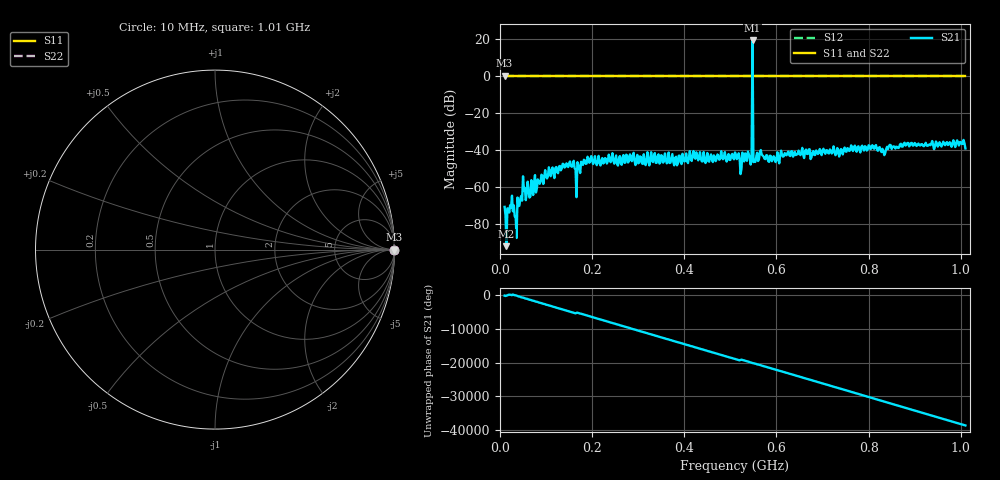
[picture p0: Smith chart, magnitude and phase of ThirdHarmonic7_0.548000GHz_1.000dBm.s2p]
! 8/17/2025 4:34:46 PM
! C:\ANRITSUVNA\TEMP\TEMP.S2P
! CHANNEL.1
! TR.MEASUREMENT
! RAW.DATA
! RF.CORRECTION.OFF
! AVERAGING.OFF
! IF.BANDWIDTH: 5KHZ
! SWEEPTYPE:  FREQ.SWEEP(Linear)
! Reference Plane Port Info
! PORT:  PORT1  PORT2
! DISTANCE:  0  m  0  m
! TIME:  0  s  0  s
! PHASE.OFFSET:  0  deg.  0  deg.
! LOSS:  0  dB  0  dB
! REF.LOSS:  0  dB  0  dB
! REF.FREQ:  0  Hz  0  Hz
! Power Info
! POWER:  -20  dBm  -20  dBm
! EFF.POWER:  -20  dBm  -20  dBm
! SOURCE.ATTEN:  0  dB  0  dB
! TEST.ATTEN:  0  dB  0  dB
# GHZ S RI R 50.0
! FREQ.GHZ  S11RE  S11IM  S21RE  S21IM  S12RE  S12IM  S22RE  S22IM
!; PortSelection: Port_12
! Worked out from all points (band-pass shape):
!   501 points, 10 MHz to 1.01 GHz, reference 50 ohm
!   highest |S21| = 19.05 dB at 548 MHz (marker M1); lowest = -91.8 dB at 14 MHz (marker M2)
!   |S21| within 3 dB of the highest: 547.9055 MHz to 548.0915 MHz (186.1 kHz wide, 0.034 % of centre)
!   lowest |S11| = 0.0 dB at 10 MHz (marker M3)
!   |S11| at or under -10 dB: nowhere
!   |S22| runs from 0.0 to 0.0 dB; largest |S21 - S12| = 8.3
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0.01  1 0  -0.000197 -0.000219  1 0  1 0
0.014  1 0  -9.3e-06 -2.41e-05  1 0  1 0
0.026  1 0  0.000534 0.000255  1 0  1 0
0.032  1 0  0.000148 7.09e-05  1 0  1 0
0.05  1 0  0.00176 -0.000873  1 0  1 0
0.068  1 0  0.00147 -0.000485  1 0  1 0
0.11  1 0  0.000778 0.00182  1 0  1 0
0.156  1 0  0.00354 -0.000319  1 0  1 0
0.17  1 0  -0.00308 0.00256  1 0  1 0
0.178  1 0  -0.00408 -0.00056  1 0  1 0
0.344  1 0  0.00698 -0.00319  1 0  1 0
0.51  1 0  -0.00842 -0.0019  1 0  1 0
0.526  1 0  -0.0016 -0.00839  1 0  1 0
0.53  1 0  -0.00134 0.00476  1 0  1 0
0.542  1 0  0.00474 -0.00428  1 0  1 0
0.544  1 0  -0.00116 -0.00391  1 0  1 0
0.548  1 0  6.243 6.436  1 0  1 0
0.552  1 0  0.00256 -0.00437  1 0  1 0
0.554  1 0  -0.00301 -0.00373  1 0  1 0
0.678  1 0  0.00534 -0.00679  1 0  1 0
0.844  1 0  -0.00898 0.00892  1 0  1 0
1.01  1 0  0.00216 -0.0109  1 0  1 0
